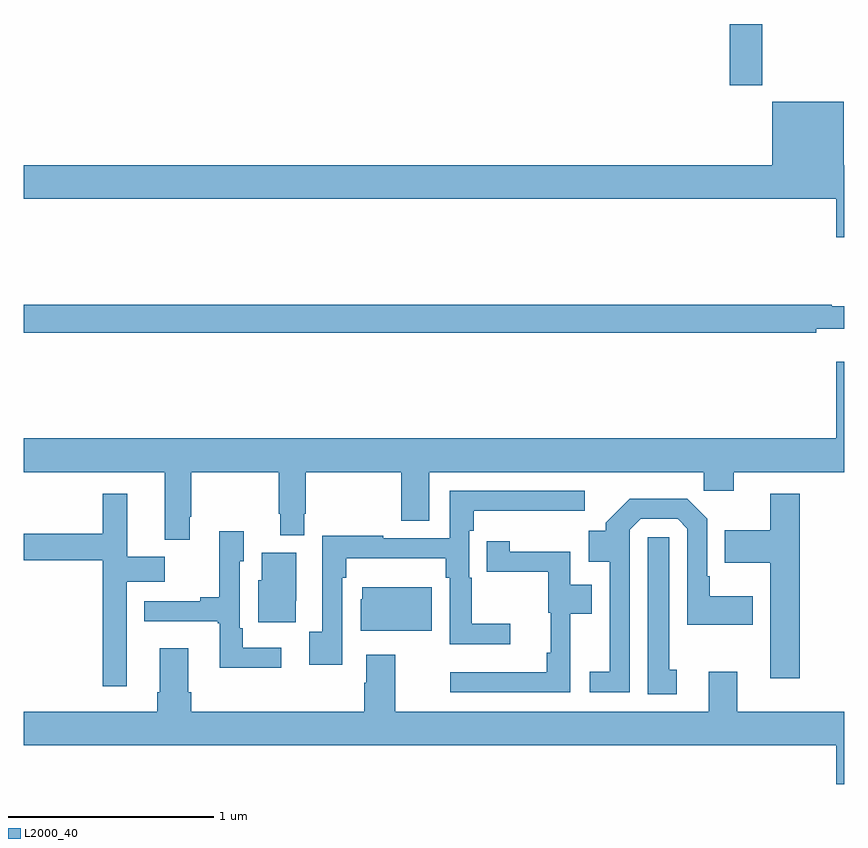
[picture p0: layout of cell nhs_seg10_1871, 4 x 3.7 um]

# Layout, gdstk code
import gdstk
lib = gdstk.Library(unit=1e-6, precision=1e-09)
def R(c, l, rs):  # rectangles x0, y0, x1, y1
    for r in rs: c.add(gdstk.rectangle(r[:2], r[2:], *l))
def P(c, l, *ps):  # polygons
    for p in ps: c.add(gdstk.Polygon(p, *l))
L2000_40 = (2000, 40)

nhs_seg10_1871 = lib.new_cell('nhs_seg10_1871')
R(nhs_seg10_1871, L2000_40, [(212.441,1302.201,212.601,1302.5)])
P(nhs_seg10_1871, L2000_40, [(213,1301.812),(212.998,1301.812),(212.998,1302.121),(212.648,1302.121),(212.648,1301.812),(209,1301.812),(209,1301.648),(212.96,1301.648),(212.96,1301.46),(213,1301.46)],
  [(212.864,1301.015),(213,1301.015),(213,1301.125),(212.939,1301.125),(212.939,1301.132),(209,1301.132),(209,1300.996),(212.864,1300.996)],
  [(209.809,1300.099),(209.817,1300.099),(209.817,1300.316),(210.244,1300.316),(210.244,1300.114),(210.251,1300.114),(210.251,1300.009),(210.367,1300.009),(210.367,1300.114),(210.375,1300.114),(210.375,1300.316),(210.841,1300.316),(210.841,1300.08),(210.976,1300.08),(210.976,1300.316),(212.314,1300.316),(212.314,1300.226),(212.461,1300.226),(212.461,1300.316),(213,1300.316),(213,1300.855),(212.96,1300.855),(212.96,1300.48),(209,1300.48),(209,1300.316),(209.687,1300.316),(209.687,1299.987),(209.809,1299.987)],
  [(210.552,1299.8),(210.572,1299.8),(210.572,1299.896),(211.057,1299.896),(211.057,1299.8),(211.077,1299.8),(211.077,1299.476),(211.372,1299.476),(211.372,1299.576),(211.183,1299.576),(211.183,1299.8),(211.173,1299.8),(211.173,1300.031),(211.193,1300.031),(211.193,1300.127),(211.735,1300.127),(211.735,1300.224),(211.077,1300.224),(211.077,1299.993),(210.752,1299.993),(210.752,1300.006),(210.456,1300.006),(210.456,1299.537),(210.393,1299.537),(210.393,1299.378),(210.552,1299.378)],
  [(209.503,1299.539),(209.502,1299.539),(209.502,1299.782),(209.687,1299.782),(209.687,1299.904),(209.504,1299.904),(209.504,1300.21),(209.386,1300.21),(209.386,1300.015),(209,1300.015),(209,1299.886),(209.386,1299.886),(209.386,1299.273),(209.503,1299.273)],
  [(212.783,1300.21),(212.639,1300.21),(212.639,1300.033),(212.418,1300.033),(212.418,1299.875),(212.639,1299.875),(212.639,1299.312),(212.783,1299.312)],
  [(211.953,1300.035),(212.007,1300.089),(212.187,1300.089),(212.235,1300.041),(212.235,1299.572),(212.554,1299.572),(212.554,1299.712),(212.344,1299.712),(212.344,1299.808),(212.331,1299.808),(212.331,1300.089),(212.234,1300.186),(211.954,1300.186),(211.837,1300.069),(211.837,1300.03),(211.754,1300.03),(211.754,1299.878),(211.857,1299.878),(211.857,1299.344),(211.758,1299.344),(211.758,1299.243),(211.953,1299.243)],
  [(210.256,1299.459),(210.067,1299.459),(210.067,1299.556),(210.054,1299.556),(210.054,1299.882),(210.073,1299.882),(210.073,1300.027),(209.953,1300.027),(209.953,1299.707),(209.861,1299.707),(209.861,1299.687),(209.587,1299.687),(209.587,1299.59),(209.946,1299.59),(209.946,1299.579),(209.957,1299.579),(209.957,1299.362),(210.256,1299.362)],
  [(212.182,1299.354),(212.146,1299.354),(212.146,1299.999),(212.042,1299.999),(212.042,1299.234),(212.182,1299.234)],
  [(211.665,1299.626),(211.768,1299.626),(211.768,1299.766),(211.665,1299.766),(211.665,1299.929),(211.369,1299.929),(211.369,1299.979),(211.258,1299.979),(211.258,1299.83),(211.557,1299.83),(211.557,1299.63),(211.568,1299.63),(211.568,1299.436),(211.549,1299.436),(211.549,1299.34),(211.08,1299.34),(211.08,1299.243),(211.665,1299.243)],
  [(210.327,1299.688),(210.328,1299.688),(210.328,1299.924),(210.161,1299.924),(210.161,1299.789),(210.143,1299.789),(210.143,1299.585),(210.327,1299.585)],
  [(210.988,1299.754),(210.65,1299.754),(210.65,1299.696),(210.644,1299.696),(210.644,1299.542),(210.988,1299.542)],
  [(213,1299.148),(212.479,1299.148),(212.479,1299.343),(212.339,1299.343),(212.339,1299.148),(210.811,1299.148),(210.811,1299.427),(210.671,1299.427),(210.671,1299.29),(210.659,1299.29),(210.659,1299.148),(209.816,1299.148),(209.816,1299.244),(209.803,1299.244),(209.803,1299.457),(209.663,1299.457),(209.663,1299.244),(209.651,1299.244),(209.651,1299.148),(209,1299.148),(209,1298.984),(212.96,1298.984),(212.96,1298.796),(213,1298.796)])

lib.write_gds('nhs_seg10_1871.gds')
